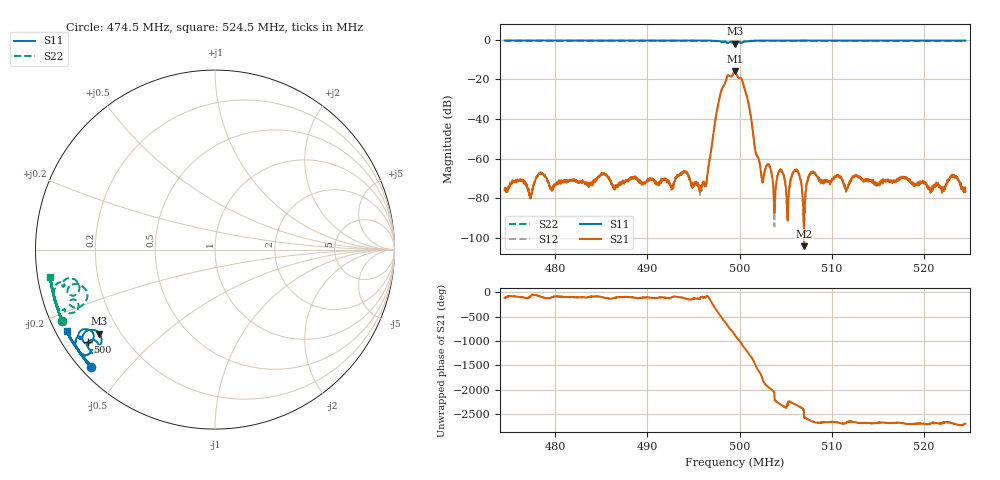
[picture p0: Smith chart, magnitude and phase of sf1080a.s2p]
# Hz S RI R 50
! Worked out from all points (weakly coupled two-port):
!   1601 points, 474.5 MHz to 524.5 MHz, reference 50 ohm
!   highest |S21| = -16.06 dB at 499.5 MHz (marker M1); lowest = -104.2 dB at 507 MHz (marker M2)
!   lowest |S11| = -2.0 dB at 499.5 MHz (marker M3), VSWR 8.78, Z = 6.28 - j16 ohm
!   |S11| at or under -10 dB: nowhere
!   |S22| runs from -2.5 to -0.5 dB; largest |S21 - S12| = 0.0012
!   S11 on the Smith chart (normalised r, x): 474.5 MHz: 0.03, -0.40; 500 MHz: 0.07, -0.32; 524.5 MHz: 0.03, -0.26
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4.745e8  -0.6887 -0.6524  -8.02e-05 -0.00014  -7.86e-05 -0.000151  -0.8515 -0.3971
4.773125e8  -0.7021 -0.6418  1.72e-05 -0.000105  -1.35e-05 -0.000124  -0.8574 -0.3814
4.784062e8  -0.7054 -0.6375  -9.25e-06 -0.000424  -2.77e-05 -0.000417  -0.8603 -0.3775
4.828438e8  -0.7179 -0.6194  -6.45e-05 -0.000263  -6.32e-05 -0.000239  -0.8675 -0.3541
4.911875e8  -0.7466 -0.5824  -9.02e-05 -0.000225  -7.08e-05 -0.00022  -0.8838 -0.3077
4.961875e8  -0.7707 -0.5459  -7.57e-05 -0.00021  -8.84e-05 -0.000209  -0.8985 -0.2589
4.979062e8  -0.7631 -0.4847  -0.0214 -0.0361  -0.0213 -0.036  -0.8633 -0.1823
4.994688e8  -0.6438 -0.4675  -0.1391 -0.0737  -0.1394 -0.0737  -0.7132 -0.2377
4.995e8  -0.6347 -0.484  -0.1481 -0.0486  -0.1485 -0.048  -0.71 -0.2588
5e8  -0.7074 -0.5139  0.0149 0.1043  0.0151 0.1044  -0.7986 -0.2791
5.00875e8  -0.6932 -0.5732  -0.0263 -0.0161  -0.0263 -0.0161  -0.8422 -0.3368
5.024375e8  -0.7531 -0.573  0.000163 0.000236  0.000152 0.000239  -0.8872 -0.2939
5.031562e8  -0.7602 -0.5616  -0.000565 -0.000379  -0.000581 -0.000377  -0.8922 -0.2844
5.038125e8  -0.7629 -0.5579  4.16e-05 -4.75e-05  4.95e-05 -3.34e-05  -0.8921 -0.2743
5.045312e8  -0.7686 -0.5515  -0.000421 -0.000271  -0.000409 -0.000247  -0.8961 -0.2684
5.052188e8  -0.77 -0.5475  -2.59e-05 -8.5e-06  4.16e-06 -3.67e-05  -0.897 -0.2605
5.061562e8  -0.7761 -0.5425  -0.000457 -0.000291  -0.000425 -0.000291  -0.8986 -0.2558
5.07e8  -0.7792 -0.5366  5.47e-06 -2.92e-06  2.03e-05 -1.04e-05  -0.9001 -0.2522
5.078438e8  -0.7805 -0.5316  -0.000204 -0.000376  -0.00023 -0.000381  -0.9021 -0.2453
5.161875e8  -0.8074 -0.4916  -0.00025 -0.000123  -0.000247 -0.000126  -0.9117 -0.1947
5.232188e8  -0.8252 -0.4592  -0.000361 -9.57e-05  -0.000352 -7.51e-05  -0.9169 -0.1553
5.245e8  -0.8272 -0.4548  -0.000147 -2.52e-05  -0.000154 -3.66e-05  -0.9182 -0.1502
